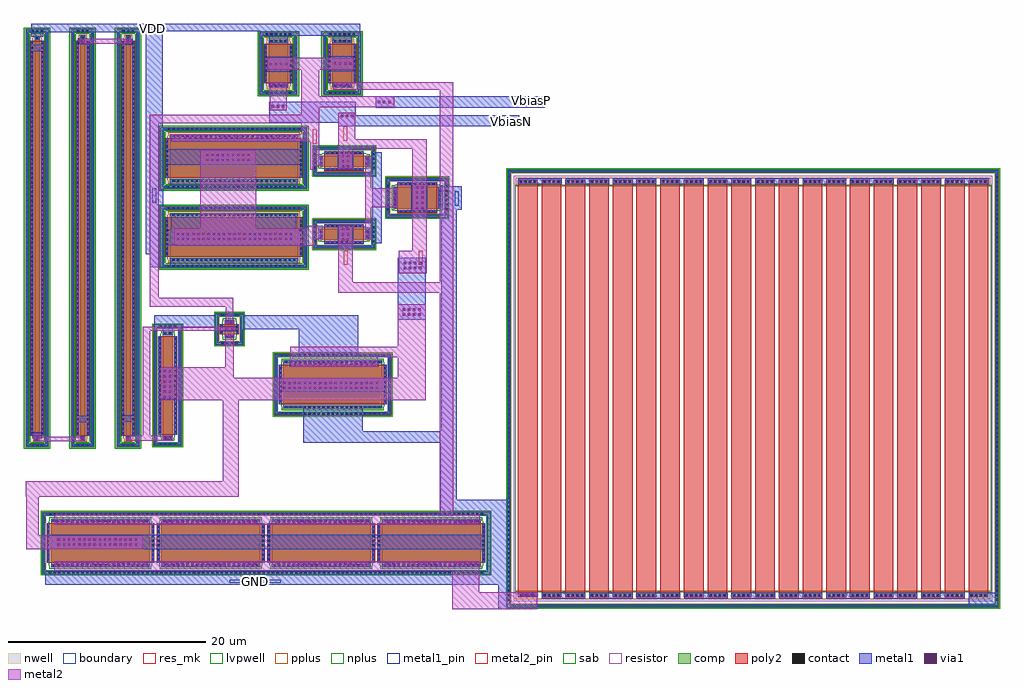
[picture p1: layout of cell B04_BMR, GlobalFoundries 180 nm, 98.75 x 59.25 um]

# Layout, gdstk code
from math import pi, radians
import gdstk
lib = gdstk.Library(unit=1e-6, precision=1e-09)
def R(c, l, rs):  # rectangles x0, y0, x1, y1
    for r in rs: c.add(gdstk.rectangle(r[:2], r[2:], *l))
def A(c, l, x, y, w, h, nx, ny, dx, dy):  # array of equal rectangles
    R(c, l, [(x+i*dx, y+j*dy, x+i*dx+w, y+j*dy+h) for i in range(nx) for j in range(ny)])
boundary = (0, 0)
nwell = (21, 0)
comp = (22, 0)
poly2 = (30, 0)
pplus = (31, 0)
nplus = (32, 0)
contact = (33, 0)
metal1 = (34, 0)
metal1_pin = (34, 10)
via1 = (35, 0)
metal2 = (36, 0)
metal2_pin = (36, 10)
sab = (49, 0)
resistor = (62, 0)
res_mk = (110, 5)
lvpwell = (204, 0)

pfet_03v3_6smzhp = lib.new_cell('pfet_03v3_6SMZHP')
R(pfet_03v3_6smzhp, boundary, [(-20.95,-1,20.95,1)])
R(pfet_03v3_6smzhp, nwell, [(-21.25,-1.3,21.25,1.3)])
R(pfet_03v3_6smzhp, comp, [(-21.13,-1.18,21.13,-0.82), (-21.13,-0.82,-20.77,0.82), (20.77,-0.82,21.13,0.82), (-20.44,-0.25,20.44,0.25), (-21.13,0.82,21.13,1.18)])
R(pfet_03v3_6smzhp, poly2, [(-20,-0.71,20,0.71)])
R(pfet_03v3_6smzhp, pplus, [(-20.23,-0.48,20.23,-0.41), (-20.6,-0.41,20.6,0.41), (-20.23,0.41,20.23,0.48)])
R(pfet_03v3_6smzhp, nplus, [(-21.29,-1.34,21.29,-0.71), (-21.29,-0.71,-20.66,0.71), (20.66,-0.71,21.29,0.71), (-21.29,0.71,21.29,1.34)])
A(pfet_03v3_6smzhp, contact, -19.85, -0.64, 0.22, 0.22, 85, 2, 0.47, 1.06)
A(pfet_03v3_6smzhp, contact, -21.06, -0.58, 0.22, 0.22, 1, 3, 0, 0.47)
A(pfet_03v3_6smzhp, contact, 20.84, -0.58, 0.22, 0.22, 1, 3, 0, 0.47)
R(pfet_03v3_6smzhp, contact, [(-20.37,-0.11,-20.15,0.11), (20.15,-0.11,20.37,0.11)])
R(pfet_03v3_6smzhp, metal1, [(-21.065,-1.115,21.065,-0.885), (-21.065,-0.885,-20.835,0.885), (20.835,-0.885,21.065,0.885), (-19.99,-0.645,19.99,-0.415), (-20.375,-0.24,-20.145,0.24), (20.145,-0.24,20.375,0.24), (-19.99,0.415,19.99,0.645), (-21.065,0.885,21.065,1.115)])

nfet_03v3_dubmlq = lib.new_cell('nfet_03v3_DUBMLQ')
R(nfet_03v3_dubmlq, boundary, [(-5.95,-1.25,5.95,1.25)])
R(nfet_03v3_dubmlq, comp, [(-6.13,-1.43,6.13,-1.07), (-6.13,-1.07,-5.77,1.07), (5.77,-1.07,6.13,1.07), (-5.44,-0.5,5.44,0.5), (-6.13,1.07,6.13,1.43)])
R(nfet_03v3_dubmlq, poly2, [(-5,-0.96,5,0.96)])
R(nfet_03v3_dubmlq, pplus, [(-6.15,-1.45,6.15,-1.05), (-6.15,-1.05,-5.74,-0.945), (5.74,-1.05,6.15,-0.945), (-6.16,-0.945,-5.74,0.945), (5.74,-0.945,6.16,0.945), (-6.15,0.945,-5.74,1.05), (5.74,0.945,6.15,1.05), (-6.15,1.05,6.15,1.45)])
R(nfet_03v3_dubmlq, nplus, [(-5.23,-0.73,5.23,-0.66), (-5.6,-0.66,5.6,0.66), (-5.23,0.66,5.23,0.73)])
A(nfet_03v3_dubmlq, contact, -4.81, -0.89, 0.22, 0.22, 21, 2, 0.47, 1.56)
A(nfet_03v3_dubmlq, contact, -6.06, -0.815, 0.22, 0.22, 1, 4, 0, 0.47)
A(nfet_03v3_dubmlq, contact, 5.84, -0.815, 0.22, 0.22, 1, 4, 0, 0.47)
R(nfet_03v3_dubmlq, contact, [(-5.37,-0.345,-5.15,-0.125), (5.15,-0.345,5.37,-0.125), (-5.37,0.125,-5.15,0.345), (5.15,0.125,5.37,0.345)])
R(nfet_03v3_dubmlq, metal1, [(-6.065,-1.365,6.065,-1.135), (-6.065,-1.135,-5.835,1.135), (5.835,-1.135,6.065,1.135), (-4.99,-0.895,4.99,-0.665), (-5.375,-0.49,-5.145,0.49), (5.145,-0.49,5.375,0.49), (-4.99,0.665,4.99,0.895), (-6.065,1.135,6.065,1.365)])
R(nfet_03v3_dubmlq, lvpwell, [(-6.25,-1.55,6.25,1.55)])

nfet_03v3_lh5lwx = lib.new_cell('nfet_03v3_LH5LWX')
R(nfet_03v3_lh5lwx, boundary, [(-1.45,-1.25,1.45,1.25)])
R(nfet_03v3_lh5lwx, comp, [(-1.63,-1.43,1.63,-1.07), (-1.63,-1.07,-1.27,1.07), (1.27,-1.07,1.63,1.07), (-0.94,-0.5,0.94,0.5), (-1.63,1.07,1.63,1.43)])
R(nfet_03v3_lh5lwx, poly2, [(-0.5,-0.96,0.5,0.96)])
R(nfet_03v3_lh5lwx, pplus, [(-1.65,-1.45,1.65,-1.05), (-1.65,-1.05,-1.24,-0.945), (1.24,-1.05,1.65,-0.945), (-1.66,-0.945,-1.24,0.945), (1.24,-0.945,1.66,0.945), (-1.65,0.945,-1.24,1.05), (1.24,0.945,1.65,1.05), (-1.65,1.05,1.65,1.45)])
R(nfet_03v3_lh5lwx, nplus, [(-0.73,-0.73,0.73,-0.66), (-1.1,-0.66,1.1,0.66), (-0.73,0.66,0.73,0.73)])
A(nfet_03v3_lh5lwx, contact, -1.56, -0.815, 0.22, 0.22, 1, 4, 0, 0.47)
A(nfet_03v3_lh5lwx, contact, 1.34, -0.815, 0.22, 0.22, 1, 4, 0, 0.47)
R(nfet_03v3_lh5lwx, contact, [(-0.345,-0.89,-0.125,-0.67), (0.125,-0.89,0.345,-0.67), (-0.87,-0.345,-0.65,-0.125), (0.65,-0.345,0.87,-0.125), (-0.87,0.125,-0.65,0.345), (0.65,0.125,0.87,0.345), (-0.345,0.67,-0.125,0.89), (0.125,0.67,0.345,0.89)])
R(nfet_03v3_lh5lwx, metal1, [(-1.565,-1.365,1.565,-1.135), (-1.565,-1.135,-1.335,1.135), (1.335,-1.135,1.565,1.135), (-0.49,-0.895,0.49,-0.665), (-0.875,-0.49,-0.645,0.49), (0.645,-0.49,0.875,0.49), (-0.49,0.665,0.49,0.895), (-1.565,1.135,1.565,1.365)])
R(nfet_03v3_lh5lwx, lvpwell, [(-1.75,-1.55,1.75,1.55)])

pfet_03v3_m5a2nd = lib.new_cell('pfet_03v3_M5A2ND')
R(pfet_03v3_m5a2nd, boundary, [(-2.95,-1.75,2.95,1.75)])
R(pfet_03v3_m5a2nd, nwell, [(-3.25,-2.05,3.25,2.05)])
R(pfet_03v3_m5a2nd, comp, [(-3.13,-1.93,3.13,-1.57), (-3.13,-1.57,-2.77,1.57), (2.77,-1.57,3.13,1.57), (-2.44,-1,2.44,1), (-3.13,1.57,3.13,1.93)])
R(pfet_03v3_m5a2nd, poly2, [(-2,-1.46,2,1.46)])
R(pfet_03v3_m5a2nd, pplus, [(-2.23,-1.23,2.23,-1.16), (-2.6,-1.16,2.6,1.16), (-2.23,1.16,2.23,1.23)])
R(pfet_03v3_m5a2nd, nplus, [(-3.29,-2.09,3.29,-1.46), (-3.29,-1.46,-2.66,1.46), (2.66,-1.46,3.29,1.46), (-3.29,1.46,3.29,2.09)])
A(pfet_03v3_m5a2nd, contact, -1.755, -1.39, 0.22, 0.22, 8, 2, 0.47, 2.56)
A(pfet_03v3_m5a2nd, contact, -3.06, -1.285, 0.22, 0.22, 1, 6, 0, 0.47)
A(pfet_03v3_m5a2nd, contact, 2.84, -1.285, 0.22, 0.22, 1, 6, 0, 0.47)
A(pfet_03v3_m5a2nd, contact, -2.37, -0.815, 0.22, 0.22, 1, 4, 0, 0.47)
A(pfet_03v3_m5a2nd, contact, 2.15, -0.815, 0.22, 0.22, 1, 4, 0, 0.47)
R(pfet_03v3_m5a2nd, metal1, [(-3.065,-1.865,3.065,-1.635), (-3.065,-1.635,-2.835,1.635), (2.835,-1.635,3.065,1.635), (-1.99,-1.395,1.99,-1.165), (-2.375,-0.99,-2.145,0.99), (2.145,-0.99,2.375,0.99), (-1.99,1.165,1.99,1.395), (-3.065,1.635,3.065,1.865)])

nfet_03v3_gptq69 = lib.new_cell('nfet_03v3_GPTQ69')
R(nfet_03v3_gptq69, boundary, [(-2.95,-5.75,2.95,5.75)])
R(nfet_03v3_gptq69, comp, [(-3.13,-5.93,3.13,-5.57), (-3.13,-5.57,-2.77,5.57), (2.77,-5.57,3.13,5.57), (-2.44,-5,2.44,5), (-3.13,5.57,3.13,5.93)])
R(nfet_03v3_gptq69, poly2, [(-2,-5.46,2,5.46)])
R(nfet_03v3_gptq69, pplus, [(-3.15,-5.95,3.15,-5.55), (-3.15,-5.55,-2.74,-5.445), (2.74,-5.55,3.15,-5.445), (-3.16,-5.445,-2.74,5.445), (2.74,-5.445,3.16,5.445), (-3.15,5.445,-2.74,5.55), (2.74,5.445,3.15,5.55), (-3.15,5.55,3.15,5.95)])
R(nfet_03v3_gptq69, nplus, [(-2.23,-5.23,2.23,-5.16), (-2.6,-5.16,2.6,5.16), (-2.23,5.16,2.23,5.23)])
A(nfet_03v3_gptq69, contact, -1.755, -5.39, 0.22, 0.22, 8, 2, 0.47, 10.56)
A(nfet_03v3_gptq69, contact, -3.06, -5.28, 0.22, 0.22, 1, 23, 0, 0.47)
A(nfet_03v3_gptq69, contact, 2.84, -5.28, 0.22, 0.22, 1, 23, 0, 0.47)
A(nfet_03v3_gptq69, contact, -2.37, -4.81, 0.22, 0.22, 1, 21, 0, 0.47)
A(nfet_03v3_gptq69, contact, 2.15, -4.81, 0.22, 0.22, 1, 21, 0, 0.47)
R(nfet_03v3_gptq69, metal1, [(-3.065,-5.865,3.065,-5.635), (-3.065,-5.635,-2.835,5.635), (2.835,-5.635,3.065,5.635), (-1.99,-5.395,1.99,-5.165), (-2.375,-4.99,-2.145,4.99), (2.145,-4.99,2.375,4.99), (-1.99,5.165,1.99,5.395), (-3.065,5.635,3.065,5.865)])
R(nfet_03v3_gptq69, lvpwell, [(-3.25,-6.05,3.25,6.05)])

nfet_03v3_ckm2xl = lib.new_cell('nfet_03v3_CKM2XL')
R(nfet_03v3_ckm2xl, boundary, [(-2.95,-22.49,2.95,22.49)])
A(nfet_03v3_ckm2xl, comp, -2.44, -21.74, 4.88, 10, 1, 4, 0, 11.16)
R(nfet_03v3_ckm2xl, comp, [(-3.13,-22.67,3.13,-22.31), (-3.13,-22.31,-2.77,22.31), (2.77,-22.31,3.13,22.31), (-3.13,22.31,3.13,22.67)])
A(nfet_03v3_ckm2xl, poly2, -2, -22.2, 4, 10.92, 1, 4, 0, 11.16)
R(nfet_03v3_ckm2xl, pplus, [(-3.15,-22.69,3.15,-22.29), (-3.15,-22.29,-2.74,-22.185), (2.74,-22.29,3.15,-22.185), (-3.16,-22.185,-2.74,22.185), (2.74,-22.185,3.16,22.185), (-3.15,22.185,-2.74,22.29), (2.74,22.185,3.15,22.29), (-3.15,22.29,3.15,22.69)])
A(nfet_03v3_ckm2xl, nplus, -2.6, -21.9, 5.2, 10.32, 1, 4, 0, 11.16)
R(nfet_03v3_ckm2xl, nplus, [(-2.23,-21.97,2.23,-21.9), (-2.23,-11.58,2.23,-11.51), (-2.23,-10.81,2.23,-10.74), (-2.23,-0.42,2.23,-0.35), (-2.23,0.35,2.23,0.42), (-2.23,10.74,2.23,10.81), (-2.23,11.51,2.23,11.58), (-2.23,21.9,2.23,21.97)])
A(nfet_03v3_ckm2xl, contact, -1.755, -22.13, 0.22, 0.22, 8, 2, 0.47, 10.56)
A(nfet_03v3_ckm2xl, contact, -3.06, -21.965, 0.22, 0.22, 1, 94, 0, 0.47)
A(nfet_03v3_ckm2xl, contact, 2.84, -21.965, 0.22, 0.22, 1, 94, 0, 0.47)
A(nfet_03v3_ckm2xl, contact, -2.37, -21.55, 0.22, 0.22, 1, 21, 0, 0.47)
A(nfet_03v3_ckm2xl, contact, 2.15, -21.55, 0.22, 0.22, 1, 21, 0, 0.47)
A(nfet_03v3_ckm2xl, contact, -1.755, -10.97, 0.22, 0.22, 8, 2, 0.47, 10.56)
A(nfet_03v3_ckm2xl, contact, -2.37, -10.39, 0.22, 0.22, 1, 21, 0, 0.47)
A(nfet_03v3_ckm2xl, contact, 2.15, -10.39, 0.22, 0.22, 1, 21, 0, 0.47)
A(nfet_03v3_ckm2xl, contact, -1.755, 0.19, 0.22, 0.22, 8, 2, 0.47, 10.56)
A(nfet_03v3_ckm2xl, contact, -2.37, 0.77, 0.22, 0.22, 1, 21, 0, 0.47)
A(nfet_03v3_ckm2xl, contact, 2.15, 0.77, 0.22, 0.22, 1, 21, 0, 0.47)
A(nfet_03v3_ckm2xl, contact, -1.755, 11.35, 0.22, 0.22, 8, 2, 0.47, 10.56)
A(nfet_03v3_ckm2xl, contact, -2.37, 11.93, 0.22, 0.22, 1, 21, 0, 0.47)
A(nfet_03v3_ckm2xl, contact, 2.15, 11.93, 0.22, 0.22, 1, 21, 0, 0.47)
A(nfet_03v3_ckm2xl, metal1, -2.375, -21.73, 0.23, 9.98, 1, 4, 0, 11.16)
A(nfet_03v3_ckm2xl, metal1, 2.145, -21.73, 0.23, 9.98, 1, 4, 0, 11.16)
R(nfet_03v3_ckm2xl, metal1, [(-3.065,-22.605,3.065,-22.375), (-3.065,-22.375,-2.835,22.375), (2.835,-22.375,3.065,22.375), (-1.99,-22.135,1.99,-21.905), (-1.99,-11.575,1.99,-11.345), (-1.99,-10.975,1.99,-10.745), (-1.99,-0.415,1.99,-0.185), (-1.99,0.185,1.99,0.415), (-1.99,10.745,1.99,10.975), (-1.99,11.345,1.99,11.575), (-1.99,21.905,1.99,22.135), (-3.065,22.375,3.065,22.605)])
R(nfet_03v3_ckm2xl, lvpwell, [(-3.25,-22.79,3.25,22.79)])

pfet_03v3_sak7g2 = lib.new_cell('pfet_03v3_SAK7G2')
R(pfet_03v3_sak7g2, boundary, [(-2.95,-7.25,2.95,7.25)])
R(pfet_03v3_sak7g2, nwell, [(-3.25,-7.55,3.25,7.55)])
R(pfet_03v3_sak7g2, comp, [(-3.13,-7.43,3.13,-7.07), (-3.13,-7.07,-2.77,7.07), (2.77,-7.07,3.13,7.07), (-2.44,-6.5,2.44,6.5), (-3.13,7.07,3.13,7.43)])
R(pfet_03v3_sak7g2, poly2, [(-2,-6.96,2,6.96)])
R(pfet_03v3_sak7g2, pplus, [(-2.23,-6.73,2.23,-6.66), (-2.6,-6.66,2.6,6.66), (-2.23,6.66,2.23,6.73)])
R(pfet_03v3_sak7g2, nplus, [(-3.29,-7.59,3.29,-6.96), (-3.29,-6.96,-2.66,6.96), (2.66,-6.96,3.29,6.96), (-3.29,6.96,3.29,7.59)])
A(pfet_03v3_sak7g2, contact, -1.755, -6.89, 0.22, 0.22, 8, 2, 0.47, 13.56)
A(pfet_03v3_sak7g2, contact, -3.06, -6.69, 0.22, 0.22, 1, 29, 0, 0.47)
A(pfet_03v3_sak7g2, contact, 2.84, -6.69, 0.22, 0.22, 1, 29, 0, 0.47)
A(pfet_03v3_sak7g2, contact, -2.37, -6.22, 0.22, 0.22, 1, 27, 0, 0.47)
A(pfet_03v3_sak7g2, contact, 2.15, -6.22, 0.22, 0.22, 1, 27, 0, 0.47)
R(pfet_03v3_sak7g2, metal1, [(-3.065,-7.365,3.065,-7.135), (-3.065,-7.135,-2.835,7.135), (2.835,-7.135,3.065,7.135), (-1.99,-6.895,1.99,-6.665), (-2.375,-6.49,-2.145,6.49), (2.145,-6.49,2.375,6.49), (-1.99,6.665,1.99,6.895), (-3.065,7.135,3.065,7.365)])

nfet_03v3_6amvax = lib.new_cell('nfet_03v3_6AMVAX')
R(nfet_03v3_6amvax, boundary, [(-2.95,-1.3,2.95,1.3)])
R(nfet_03v3_6amvax, comp, [(-3.13,-1.48,3.13,-1.12), (-3.13,-1.12,-2.77,1.12), (2.77,-1.12,3.13,1.12), (-2.44,-0.55,2.44,0.55), (-3.13,1.12,3.13,1.48)])
R(nfet_03v3_6amvax, poly2, [(-2,-1.01,2,1.01)])
R(nfet_03v3_6amvax, pplus, [(-3.15,-1.5,3.15,-1.1), (-3.15,-1.1,-2.74,-0.995), (2.74,-1.1,3.15,-0.995), (-3.16,-0.995,-2.74,0.995), (2.74,-0.995,3.16,0.995), (-3.15,0.995,-2.74,1.1), (2.74,0.995,3.15,1.1), (-3.15,1.1,3.15,1.5)])
R(nfet_03v3_6amvax, nplus, [(-2.23,-0.78,2.23,-0.71), (-2.6,-0.71,2.6,0.71), (-2.23,0.71,2.23,0.78)])
A(nfet_03v3_6amvax, contact, -1.755, -0.94, 0.22, 0.22, 8, 2, 0.47, 1.66)
A(nfet_03v3_6amvax, contact, -3.06, -0.815, 0.22, 0.22, 1, 4, 0, 0.47)
A(nfet_03v3_6amvax, contact, 2.84, -0.815, 0.22, 0.22, 1, 4, 0, 0.47)
R(nfet_03v3_6amvax, contact, [(-2.37,-0.345,-2.15,-0.125), (2.15,-0.345,2.37,-0.125), (-2.37,0.125,-2.15,0.345), (2.15,0.125,2.37,0.345)])
R(nfet_03v3_6amvax, metal1, [(-3.065,-1.415,3.065,-1.185), (-3.065,-1.185,-2.835,1.185), (2.835,-1.185,3.065,1.185), (-1.99,-0.945,1.99,-0.715), (-2.375,-0.54,-2.145,0.54), (2.145,-0.54,2.375,0.54), (-1.99,0.715,1.99,0.945), (-3.065,1.185,3.065,1.415)])
R(nfet_03v3_6amvax, lvpwell, [(-3.25,-1.6,3.25,1.6)])

nfet_03v3_ttht8g = lib.new_cell('nfet_03v3_TTHT8G')
R(nfet_03v3_ttht8g, boundary, [(-2.95,-1.85,2.95,1.85)])
R(nfet_03v3_ttht8g, comp, [(-3.13,-2.03,3.13,-1.67), (-3.13,-1.67,-2.77,1.67), (2.77,-1.67,3.13,1.67), (-2.44,-1.1,2.44,1.1), (-3.13,1.67,3.13,2.03)])
R(nfet_03v3_ttht8g, poly2, [(-2,-1.56,2,1.56)])
R(nfet_03v3_ttht8g, pplus, [(-3.15,-2.05,3.15,-1.65), (-3.15,-1.65,-2.74,-1.545), (2.74,-1.65,3.15,-1.545), (-3.16,-1.545,-2.74,1.545), (2.74,-1.545,3.16,1.545), (-3.15,1.545,-2.74,1.65), (2.74,1.545,3.15,1.65), (-3.15,1.65,3.15,2.05)])
R(nfet_03v3_ttht8g, nplus, [(-2.23,-1.33,2.23,-1.26), (-2.6,-1.26,2.6,1.26), (-2.23,1.26,2.23,1.33)])
A(nfet_03v3_ttht8g, contact, -1.755, -1.49, 0.22, 0.22, 8, 2, 0.47, 2.76)
A(nfet_03v3_ttht8g, contact, -3.06, -1.285, 0.22, 0.22, 1, 6, 0, 0.47)
A(nfet_03v3_ttht8g, contact, 2.84, -1.285, 0.22, 0.22, 1, 6, 0, 0.47)
A(nfet_03v3_ttht8g, contact, -2.37, -0.815, 0.22, 0.22, 1, 4, 0, 0.47)
A(nfet_03v3_ttht8g, contact, 2.15, -0.815, 0.22, 0.22, 1, 4, 0, 0.47)
R(nfet_03v3_ttht8g, metal1, [(-3.065,-1.965,3.065,-1.735), (-3.065,-1.735,-2.835,1.735), (2.835,-1.735,3.065,1.735), (-1.99,-1.495,1.99,-1.265), (-2.375,-1.09,-2.145,1.09), (2.145,-1.09,2.375,1.09), (-1.99,1.265,1.99,1.495), (-3.065,1.735,3.065,1.965)])
R(nfet_03v3_ttht8g, lvpwell, [(-3.25,-2.15,3.25,2.15)])

b04_diff_amp = lib.new_cell('B04_diff_amp')
R(b04_diff_amp, metal1, [(-1.2,-8.5,1.15,-6.3), (-1.5,-5,1.5,-3.4), (-0.95,-2.05,0.95,-1.65), (-4.6,-0.4,4.6,0.55), (-4.25,0.85,-3.15,1.15), (3.15,0.85,4.25,1.15), (-4.15,1.15,-3.25,1.2), (3.25,1.15,4.15,1.2), (-4.6,2.5,-2.8,4.05), (2.85,2.5,4.55,4.05), (-4.2,5.6,-3.2,6), (3.2,5.6,4.2,6), (-4.8,7.65,-3.25,8.25), (3.35,7.65,4.9,21.4), (-7.05,8.15,-6.2,21), (0.95,8.15,1.85,21), (5.7,8.2,6.35,20.9), (-4.8,8.25,-1.7,20.9), (-4.8,20.9,-3.25,21.4), (-7.05,21.7,7.05,23.05)])
R(b04_diff_amp, metal1_pin, [(-0.8,-8.2,0.65,-7.8), (-0.5,22.4,0.95,22.8)])
A(b04_diff_amp, via1, -1.17, -4.64, 0.26, 0.26, 5, 2, 0.52, 0.52)
A(b04_diff_amp, via1, -0.65, -1.98, 0.26, 0.26, 3, 1, 0.52, 0)
A(b04_diff_amp, via1, -4.35, 2.885, 0.26, 0.26, 3, 2, 0.52, 0.52)
A(b04_diff_amp, via1, 3.05, 2.885, 0.26, 0.26, 3, 2, 0.52, 0.52)
A(b04_diff_amp, via1, 5.895, 8.415, 0.26, 0.26, 1, 24, 0, 0.52)
A(b04_diff_amp, via1, -4.315, 8.65, 0.26, 0.26, 1, 23, 0, 0.52)
A(b04_diff_amp, via1, -3.795, 8.65, 0.26, 0.26, 1, 23, 0, 0.52)
A(b04_diff_amp, via1, 3.66, 12.94, 0.26, 0.26, 1, 9, 0, 0.52)
A(b04_diff_amp, via1, 4.18, 12.94, 0.26, 0.26, 1, 9, 0, 0.52)
R(b04_diff_amp, via1, [(-4.09,0.92,-3.83,1.18), (-3.57,0.92,-3.31,1.18), (3.31,0.92,3.57,1.18), (3.83,0.92,4.09,1.18), (-4.09,5.62,-3.83,5.88), (-3.57,5.62,-3.31,5.88), (3.31,5.62,3.57,5.88), (3.83,5.62,4.09,5.88)])
R(b04_diff_amp, metal2, [(-7.45,-4.95,1.35,-3.5), (-0.95,-2.05,0.95,0.65), (-4.25,0.65,4.25,1.25), (-7.45,2.55,-2.85,4), (2.85,2.55,7.45,4), (-4.2,5.55,-2.85,6.4), (3.2,5.55,4.2,5.9), (3.2,5.9,7.45,6.45), (-4.85,6.4,-2.85,7.1), (2.8,6.45,7.45,6.85), (5.65,6.85,6.4,20.95), (-4.85,7.1,-3.1,12.3), (-4.85,12.3,4.85,17.95), (-4.85,17.95,-3.1,20.65)])
R(b04_diff_amp, metal2_pin, [(-6.8,-4.55,-5.35,-4.15), (-6.8,3.05,-5.35,3.45), (5.75,3.1,7.2,3.5), (5.45,6.15,6.9,6.55)])
b04_diff_amp.add(gdstk.Reference(pfet_03v3_sak7g2, (-4,14.55)))
b04_diff_amp.add(gdstk.Reference(pfet_03v3_sak7g2, (4,14.55)))
b04_diff_amp.add(gdstk.Reference(nfet_03v3_6amvax, (3.7,3.4), rotation=3*pi/2))
b04_diff_amp.add(gdstk.Reference(nfet_03v3_ttht8g, (0,-4), rotation=3*pi/2))
b04_diff_amp.add(gdstk.Reference(nfet_03v3_6amvax, (-3.7,3.4), rotation=3*pi/2))
b04_diff_amp.add(gdstk.Label('VDD', (0.225,22.6), layer=34, texttype=10))
b04_diff_amp.add(gdstk.Label('VSS', (-0.075,-8), layer=34, texttype=10))
b04_diff_amp.add(gdstk.Label('V+', (-6.075,3.25), layer=36, texttype=10))
b04_diff_amp.add(gdstk.Label('V-', (6.475,3.3), layer=36, texttype=10))
b04_diff_amp.add(gdstk.Label('Vo', (6.175,6.35), layer=36, texttype=10))
b04_diff_amp.add(gdstk.Label('Vbias', (-6.075,-4.35), layer=36, texttype=10))

ppolyf_u_1k_2q22ha = lib.new_cell('ppolyf_u_1k_2Q22HA')
R(ppolyf_u_1k_2q22ha, boundary, [(-24.68,-21.99,24.68,21.99)])
R(ppolyf_u_1k_2q22ha, comp, [(-24.86,-22.17,24.86,-21.81), (-24.86,-21.81,-24.5,21.81), (24.5,-21.81,24.86,21.81), (-24.86,21.81,24.86,22.17)])
A(ppolyf_u_1k_2q22ha, poly2, -23.8, -21.11, 2, 42.22, 20, 1, 2.4, 0)
R(ppolyf_u_1k_2q22ha, pplus, [(-24.88,-22.19,24.88,-21.79), (-24.88,-21.79,-24.47,-21.685), (24.47,-21.79,24.88,-21.685), (-24.89,-21.685,-24.47,21.685), (24.47,-21.685,24.89,21.685), (-24,-21.31,24,-20.5), (-24,20.5,24,21.31), (-24.88,21.685,-24.47,21.79), (24.47,21.685,24.88,21.79), (-24.88,21.79,24.88,22.19)])
A(ppolyf_u_1k_2q22ha, contact, -24.79, -21.495, 0.22, 0.22, 1, 92, 0, 0.47)
A(ppolyf_u_1k_2q22ha, contact, 24.57, -21.495, 0.22, 0.22, 1, 92, 0, 0.47)
A(ppolyf_u_1k_2q22ha, contact, -23.615, -21.04, 0.22, 0.22, 4, 2, 0.47, 41.86)
A(ppolyf_u_1k_2q22ha, contact, -21.215, -21.04, 0.22, 0.22, 4, 2, 0.47, 41.86)
A(ppolyf_u_1k_2q22ha, contact, -18.815, -21.04, 0.22, 0.22, 4, 2, 0.47, 41.86)
A(ppolyf_u_1k_2q22ha, contact, -16.415, -21.04, 0.22, 0.22, 4, 2, 0.47, 41.86)
A(ppolyf_u_1k_2q22ha, contact, -14.015, -21.04, 0.22, 0.22, 4, 2, 0.47, 41.86)
A(ppolyf_u_1k_2q22ha, contact, -11.615, -21.04, 0.22, 0.22, 4, 2, 0.47, 41.86)
A(ppolyf_u_1k_2q22ha, contact, -9.215, -21.04, 0.22, 0.22, 4, 2, 0.47, 41.86)
A(ppolyf_u_1k_2q22ha, contact, -6.815, -21.04, 0.22, 0.22, 4, 2, 0.47, 41.86)
A(ppolyf_u_1k_2q22ha, contact, -4.415, -21.04, 0.22, 0.22, 4, 2, 0.47, 41.86)
A(ppolyf_u_1k_2q22ha, contact, -2.015, -21.04, 0.22, 0.22, 4, 2, 0.47, 41.86)
A(ppolyf_u_1k_2q22ha, contact, 0.385, -21.04, 0.22, 0.22, 4, 2, 0.47, 41.86)
A(ppolyf_u_1k_2q22ha, contact, 2.785, -21.04, 0.22, 0.22, 4, 2, 0.47, 41.86)
A(ppolyf_u_1k_2q22ha, contact, 5.185, -21.04, 0.22, 0.22, 4, 2, 0.47, 41.86)
A(ppolyf_u_1k_2q22ha, contact, 7.585, -21.04, 0.22, 0.22, 4, 2, 0.47, 41.86)
A(ppolyf_u_1k_2q22ha, contact, 9.985, -21.04, 0.22, 0.22, 4, 2, 0.47, 41.86)
A(ppolyf_u_1k_2q22ha, contact, 12.385, -21.04, 0.22, 0.22, 4, 2, 0.47, 41.86)
A(ppolyf_u_1k_2q22ha, contact, 14.785, -21.04, 0.22, 0.22, 4, 2, 0.47, 41.86)
A(ppolyf_u_1k_2q22ha, contact, 17.185, -21.04, 0.22, 0.22, 4, 2, 0.47, 41.86)
A(ppolyf_u_1k_2q22ha, contact, 19.585, -21.04, 0.22, 0.22, 4, 2, 0.47, 41.86)
A(ppolyf_u_1k_2q22ha, contact, 21.985, -21.04, 0.22, 0.22, 4, 2, 0.47, 41.86)
A(ppolyf_u_1k_2q22ha, metal1, -23.79, -21.045, 1.98, 0.23, 20, 2, 2.4, 41.86)
R(ppolyf_u_1k_2q22ha, metal1, [(-24.795,-22.105,24.795,-21.875), (-24.795,-21.875,-24.565,21.875), (24.565,-21.875,24.795,21.875), (-24.795,21.875,24.795,22.105)])
R(ppolyf_u_1k_2q22ha, sab, [(-24.08,-20.6,24.08,20.6), (-24.08,-20.5,24.08,20.5)])
R(ppolyf_u_1k_2q22ha, resistor, [(-24.2,-21.51,24.2,21.51)])
A(ppolyf_u_1k_2q22ha, res_mk, -23.8, -20.5, 2, 41, 20, 1, 2.4, 0)
R(ppolyf_u_1k_2q22ha, res_mk, [(-24.08,-20.5,24.08,20.5)])
R(ppolyf_u_1k_2q22ha, lvpwell, [(-24.98,-22.29,24.98,22.29)])

b04_bmr = lib.new_cell('B04_BMR')
A(b04_bmr, metal1, 35.35, -15.25, 4.4, 0.6, 9, 1, 4.8, 0)
A(b04_bmr, metal1, 32.95, 26.7, 4.4, 0.6, 10, 1, 4.8, 0)
R(b04_bmr, metal1, [(30.95,-16.3,32.1,-13.8), (78.5,-16.05,80.55,-16), (78.55,-15.9,81.45,-14.65), (32.95,-15.05,34.9,-14.55), (-14.9,-13.8,32.1,-12.65), (-14.9,-12.65,32.05,-12.5), (29.95,-12.5,32.05,-6.65), (-13.85,-11.9,-4.75,-11.8), (-2.7,-11.9,6.4,-11.8), (8.6,-11.9,17.7,-11.8), (19.7,-11.9,28.8,-11.8), (-14,-11.8,-4.55,-11.45), (-2.9,-11.8,6.55,-11.45), (8.45,-11.8,17.9,-11.45), (19.55,-11.8,29,-11.45), (-14.55,-10.2,29.55,-8.75), (-14,-7.75,-4.55,-7.35), (-2.9,-7.75,6.55,-7.4), (8.45,-7.75,17.9,-7.35), (19.55,-7.75,29,-7.35), (-2.7,-7.4,6.4,-7.3), (-13.85,-7.35,-4.75,-7.3), (8.6,-7.35,17.7,-7.3), (19.7,-7.35,28.8,-7.3), (25.1,-6.65,32.05,-5.2), (25.1,-5.2,26.75,0.55), (11.2,0.55,26.75,1.7), (-11.35,0.7,-10.85,0.95), (-15.95,0.75,-15.45,1), (-6.75,0.75,-6.25,1), (-2.95,0.85,-2.05,1.25), (-11.25,0.95,-10.95,1.05), (-16.15,1,-15.25,1.6), (-6.65,1,-6.35,1.05), (-11.3,1.05,-10.9,1.15), (-6.7,1.05,-6.3,1.15), (-11.25,1.15,-10.95,1.2), (11.2,1.7,17.25,4.3), (25.2,1.7,26.75,26), (-11.55,2.65,-10.65,3.3), (-6.95,2.7,-6.05,3.35), (-3.3,4.95,-1.7,7), (8.9,5.7,19.55,7.15), (-3.2,7,-1.75,8.2), (9.85,8.25,18.8,8.7), (10,8.7,18.55,8.75), (10.75,9.3,16.8,12.05), (3.3,11.2,4.2,11.45), (3.35,11.45,4.15,11.6), (-3,11.6,-2,12.2), (2.95,11.85,4.55,12.35), (5.1,12.05,16.8,13.45), (-3.85,12.2,2.4,13.45), (3.35,12.6,4.15,12.75), (3.3,12.75,4.2,13), (20.8,13,23.6,19.25), (-4.7,19.6,-3,42.2), (14.75,32.55,33.05,32.95), (7.75,32.95,33.05,33.7), (7.75,33.7,16.55,35.05), (18.55,34.45,35.65,35.6), (7.85,36.45,9.55,37.05), (14.3,36.45,16,37.05), (7.4,38.1,10,39.6), (13.85,38.15,16.45,39.65), (-16.15,40.15,-15.25,40.8), (-6.95,40.8,-6.05,41.45), (-11.55,40.85,-10.65,41.5), (7.75,41.05,9.65,41.75), (14.2,41.05,16.1,41.75), (-15.9,41.35,-15.5,41.45), (-6.75,41.45,-6.25,41.8), (-15.95,41.5,-15.45,41.65), (-11.35,41.5,-10.85,41.8), (-16.3,41.65,-15.1,42.1), (6.85,41.75,17,42.2), (-16.3,42.1,-5.35,42.2), (-16.3,42.2,17,42.95)])
R(b04_bmr, metal1_pin, [(3.8,-13.6,8.95,-13.3), (31.8,32.95,32.7,33.25), (33.85,35.05,34.75,35.35), (-4.5,42.35,-3.6,42.65)])
A(b04_bmr, via1, 33.275, -14.93, 0.26, 0.26, 3, 1, 0.52, 0)
A(b04_bmr, via1, -13.85, -11.855, 0.26, 0.26, 18, 2, 0.52, 4.25)
A(b04_bmr, via1, -2.7, -11.855, 0.26, 0.26, 18, 2, 0.52, 4.25)
A(b04_bmr, via1, 8.6, -11.855, 0.26, 0.26, 18, 2, 0.52, 4.25)
A(b04_bmr, via1, 19.7, -11.855, 0.26, 0.26, 18, 2, 0.52, 4.25)
A(b04_bmr, via1, -13.655, -9.89, 0.26, 0.26, 16, 2, 0.52, 0.52)
A(b04_bmr, via1, -2.915, 5.07, 0.26, 0.26, 1, 6, 0, 0.52)
A(b04_bmr, via1, -2.395, 5.07, 0.26, 0.26, 1, 6, 0, 0.52)
A(b04_bmr, via1, 9.165, 5.96, 0.26, 0.26, 19, 2, 0.52, 0.52)
A(b04_bmr, via1, 10.245, 8.395, 0.26, 0.26, 16, 1, 0.52, 0)
A(b04_bmr, via1, 21.265, 13.385, 0.26, 0.26, 4, 2, 0.52, 0.52)
A(b04_bmr, via1, 21.365, 18.085, 0.26, 0.26, 4, 2, 0.52, 0.52)
A(b04_bmr, via1, 15, 33.47, 0.26, 0.26, 3, 1, 0.52, 0)
A(b04_bmr, via1, 8, 34.47, 0.26, 0.26, 3, 1, 0.52, 0)
A(b04_bmr, via1, 18.75, 34.895, 0.26, 0.26, 3, 1, 0.52, 0)
A(b04_bmr, via1, 8.05, 36.62, 0.26, 0.26, 3, 1, 0.52, 0)
A(b04_bmr, via1, 14.5, 36.62, 0.26, 0.26, 3, 1, 0.52, 0)
A(b04_bmr, via1, 7.79, 38.745, 0.26, 0.26, 4, 1, 0.52, 0)
A(b04_bmr, via1, 14.29, 38.795, 0.26, 0.26, 4, 1, 0.52, 0)
R(b04_bmr, via1, [(-11.23,0.82,-10.97,1.08), (-6.63,0.82,-6.37,1.08), (-2.63,0.92,-2.37,1.18), (-15.83,1.12,-15.57,1.38), (3.62,11.27,3.88,11.53), (3.36,11.97,3.62,12.23), (3.88,11.97,4.14,12.23), (3.62,12.67,3.88,12.93), (-11.23,41.045,-10.97,41.305), (-6.63,41.045,-6.37,41.305)])
R(b04_bmr, metal2, [(26.3,-16.3,34.9,-14.55), (26.3,-14.55,29,-12.4), (-14,-12.4,29,-11.45), (-16.8,-10.2,-4.95,-8.8), (-16.8,-8.8,-15.55,-4.9), (-14,-7.75,29.05,-6.75), (25,-6.75,26.4,15.75), (-16.8,-4.9,4.7,-4.85), (-16.85,-4.85,4.7,-3.35), (3.05,-3.35,4.7,4.85), (-16,0.7,-10.85,1.15), (-6.75,0.75,-2,1.25), (-16,1.15,-15.4,1.5), (-5,1.25,-4.25,11.9), (-3.2,4.85,23.6,7.15), (-3.2,7.15,4.2,8.2), (20.8,7.15,23.6,9.2), (3.3,8.2,4.2,11.6), (9.9,8.25,18.75,9.2), (9.9,9.2,23.6,10.25), (20.8,10.25,23.6,14.55), (-5,11.9,4.4,12.3), (3.35,12.6,4.15,14.3), (-4.3,14.3,4.15,15.2), (-4.3,15.2,-3.4,32.9), (14.75,15.75,26.4,16.8), (14.75,16.8,16.2,18.6), (25,16.8,26.4,36.25), (20.9,17.7,23.7,20), (22.25,25.85,23.7,30.3), (14.75,30.3,23.7,31.25), (14.75,31.25,16.5,33.95), (11,31.5,11.9,32.55), (11,32.55,12.85,32.9), (-4.3,32.9,12.85,33.75), (11,33.75,12.85,34.5), (7.8,34.2,9.55,37.05), (11,34.5,20.4,35.6), (11,35.6,12.85,38.3), (14.25,36.25,26.4,37.05), (7.55,38.3,16.3,39.5), (-11.45,40.9,-6.15,41.45)])
b04_bmr.add(gdstk.Reference(pfet_03v3_6smzhp, (-6.5,21.25), rotation=3*pi/2))
b04_bmr.add(gdstk.Reference(pfet_03v3_6smzhp, (-11.1,21.25), rotation=3*pi/2))
b04_bmr.add(gdstk.Reference(nfet_03v3_dubmlq, (-2.5,6.35), rotation=3*pi/2))
b04_bmr.add(gdstk.Reference(nfet_03v3_lh5lwx, (3.75,12.05), rotation=3*pi/2))
b04_bmr.add(gdstk.Reference(pfet_03v3_m5a2nd, (8.7,38.9), rotation=3*pi/2))
b04_bmr.add(gdstk.Reference(pfet_03v3_6smzhp, (-15.7,21.25), rotation=3*pi/2))
b04_bmr.add(gdstk.Reference(nfet_03v3_gptq69, (14.2,6.45), rotation=3*pi/2))
b04_bmr.add(gdstk.Reference(pfet_03v3_m5a2nd, (15.15,38.9), rotation=3*pi/2))
b04_bmr.add(gdstk.Reference(nfet_03v3_ckm2xl, (7.44,-9.6), rotation=3*pi/2))
b04_bmr.add(gdstk.Reference(b04_diff_amp, (18.75,25.35), rotation=pi/2))
b04_bmr.add(gdstk.Reference(ppolyf_u_1k_2q22ha, (56.73,6.04)))
b04_bmr.add(gdstk.Label('VbiasN', (32.25,33.1), layer=34, texttype=10))
b04_bmr.add(gdstk.Label('VbiasP', (34.3,35.2), layer=34, texttype=10))
b04_bmr.add(gdstk.Label('VDD', (-4.05,42.5), layer=34, texttype=10))
b04_bmr.add(gdstk.Label('GND', (6.375,-13.45), layer=34, texttype=10))

lib.write_gds('B04_BMR.gds')
